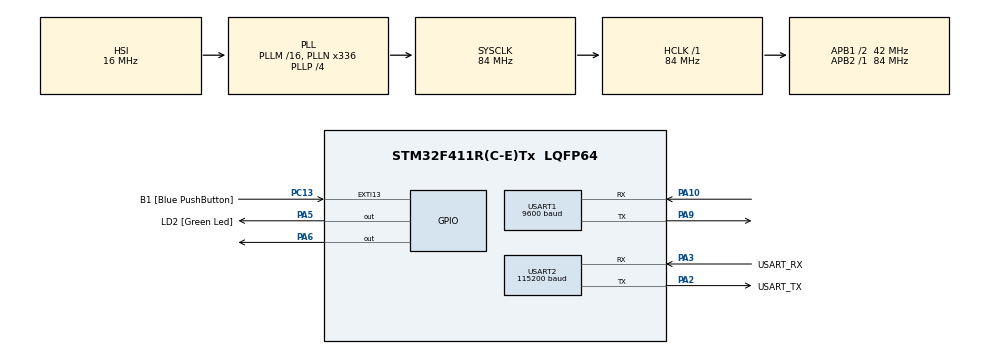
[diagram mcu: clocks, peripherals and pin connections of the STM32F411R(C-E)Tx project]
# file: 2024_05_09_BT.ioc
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Mcu.Family=STM32F4
Mcu.Name=STM32F411R(C-E)Tx
Mcu.Package=LQFP64
NVIC.PriorityGroup=NVIC_PRIORITYGROUP_0
NVIC.USART1_IRQn=true\:0\:0\:false\:false\:true\:true\:true\:true
PA10.GPIO_PuPd=GPIO_PULLUP
PA10.Mode=Asynchronous
PA10.Signal=USART1_RX
PA13.GPIO_Label=TMS
PA13.Mode=Serial_Wire
PA13.Signal=SYS_JTMS-SWDIO
PA14.GPIO_Label=TCK
PA14.Mode=Serial_Wire
PA14.Signal=SYS_JTCK-SWCLK
PA2.GPIO_Label=USART_TX
PA2.Mode=Asynchronous
PA2.Signal=USART2_TX
PA3.GPIO_Label=USART_RX
PA3.Mode=Asynchronous
PA3.Signal=USART2_RX
PA5.GPIO_Label=LD2 [Green Led]
PA5.Signal=GPIO_Output
PA6.Signal=GPIO_Output
PA9.Mode=Asynchronous
PA9.Signal=USART1_TX
PB3.GPIO_Label=SWO
PB3.Signal=SYS_JTDO-SWO
PC13-ANTI_TAMP.GPIO_Label=B1 [Blue PushButton]
PC13-ANTI_TAMP.GPIO_ModeDefaultEXTI=GPIO_MODE_IT_FALLING
PC13-ANTI_TAMP.Signal=GPXTI13
PC14-OSC32_IN.Mode=LSE-External-Oscillator
PC14-OSC32_IN.Signal=RCC_OSC32_IN
PC15-OSC32_OUT.Mode=LSE-External-Oscillator
PC15-OSC32_OUT.Signal=RCC_OSC32_OUT
PH0\ -\ OSC_IN.Mode=HSE-External-Clock-Source
PH0\ -\ OSC_IN.Signal=RCC_OSC_IN
PH1\ -\ OSC_OUT.Mode=HSE-External-Clock-Source
PH1\ -\ OSC_OUT.Signal=RCC_OSC_OUT
ProjectManager.HeapSize=0x200
ProjectManager.StackSize=0x400
ProjectManager.TargetToolchain=STM32CubeIDE
RCC.48MHZClocksFreq_Value=84000000
RCC.AHBFreq_Value=84000000
RCC.APB1CLKDivider=RCC_HCLK_DIV2
RCC.APB1Freq_Value=42000000
RCC.APB1TimFreq_Value=84000000
RCC.APB2Freq_Value=84000000
RCC.APB2TimFreq_Value=84000000
RCC.CortexFreq_Value=84000000
RCC.FLatency-AdvancedSettings=FLASH_LATENCY_2
RCC.HCLKFreq_Value=84000000
RCC.HSE_VALUE=25000000
RCC.HSI_VALUE=16000000
RCC.PLLN=336
RCC.PLLP=RCC_PLLP_DIV4
RCC.SYSCLKFreq_VALUE=84000000
RCC.SYSCLKSource=RCC_SYSCLKSOURCE_PLLCLK
RCC.VCOOutputFreq_Value=336000000
USART1.BaudRate=9600
USART1.VirtualMode=VM_ASYNC
USART2.BaudRate=115200
USART2.VirtualMode=VM_ASYNC
board=NUCLEO-F411RE

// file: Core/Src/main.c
/* USER CODE BEGIN Header */
/**
  ******************************************************************************
  * @file           : main.c
  * @brief          : Main program body
  ******************************************************************************
  * @attention
  *
  * Copyright (c) 2024 STMicroelectronics.
  * All rights reserved.
  *
  * This software is licensed under terms that can be found in the LICENSE file
  * in the root directory of this software component.
  * If no LICENSE file comes with this software, it is provided AS-IS.
  *
  ******************************************************************************
  */
/* USER CODE END Header */
#include "main.h"

/* USER CODE BEGIN Includes */
#include <stdio.h>
#include <string.h>
#include "C:\Harman\ARM Architecture\Common\myLib.h"
/* USER CODE END Includes */

UART_HandleTypeDef huart1;
UART_HandleTypeDef huart2;

void SystemClock_Config(void);
static void MX_GPIO_Init(void);
static void MX_USART2_UART_Init(void);
static void MX_USART1_UART_Init(void);

/* USER CODE BEGIN 0 */
char *demo_string = "Hello, EmbeddedThere\r\n"; //demo string
uint8_t recv_char;
uint8_t recv_str[20];
int i=0;
char *on="on";
char *off="off";
uint8_t ft=76;
/* USER CODE END 0 */

int main(void)
{

  /* MCU Configuration--------------------------------------------------------*/

  /* Reset of all peripherals, Initializes the Flash interface and the Systick. */
  HAL_Init();

  /* Configure the system clock */
  SystemClock_Config();

  /* Initialize all configured peripherals */
  MX_GPIO_Init();
  MX_USART2_UART_Init();
  MX_USART1_UART_Init();
  /* USER CODE BEGIN 2 */
  HAL_UART_Transmit(&huart2, (uint8_t*)demo_string, strlen(demo_string), HAL_MAX_DELAY);  // print to any computer serial monitor (use Putty or any serial monitor software for PC)
  HAL_UART_Receive_IT(&huart1, &recv_char, 1);  //UART1 interrupt call
  /* USER CODE END 2 */

  /* Infinite loop */
  while (1)
  {

  }
}

void SystemClock_Config(void)
{
  RCC_OscInitTypeDef RCC_OscInitStruct = {0};
  RCC_ClkInitTypeDef RCC_ClkInitStruct = {0};

  /** Configure the main internal regulator output voltage
  */
  __HAL_RCC_PWR_CLK_ENABLE();
  __HAL_PWR_VOLTAGESCALING_CONFIG(PWR_REGULATOR_VOLTAGE_SCALE1);

  /** Initializes the RCC Oscillators according to the specified parameters
  * in the RCC_OscInitTypeDef structure.
  */
  RCC_OscInitStruct.OscillatorType = RCC_OSCILLATORTYPE_HSI;
  RCC_OscInitStruct.HSIState = RCC_HSI_ON;
  RCC_OscInitStruct.HSICalibrationValue = RCC_HSICALIBRATION_DEFAULT;
  RCC_OscInitStruct.PLL.PLLState = RCC_PLL_ON;
  RCC_OscInitStruct.PLL.PLLSource = RCC_PLLSOURCE_HSI;
  RCC_OscInitStruct.PLL.PLLM = 16;
  RCC_OscInitStruct.PLL.PLLN = 336;
  RCC_OscInitStruct.PLL.PLLP = RCC_PLLP_DIV4;
  RCC_OscInitStruct.PLL.PLLQ = 4;
  if (HAL_RCC_OscConfig(&RCC_OscInitStruct) != HAL_OK)
  {
    Error_Handler();
  }

  /** Initializes the CPU, AHB and APB buses clocks
  */
  RCC_ClkInitStruct.ClockType = RCC_CLOCKTYPE_HCLK|RCC_CLOCKTYPE_SYSCLK
                              |RCC_CLOCKTYPE_PCLK1|RCC_CLOCKTYPE_PCLK2;
  RCC_ClkInitStruct.SYSCLKSource = RCC_SYSCLKSOURCE_PLLCLK;
  RCC_ClkInitStruct.AHBCLKDivider = RCC_SYSCLK_DIV1;
  RCC_ClkInitStruct.APB1CLKDivider = RCC_HCLK_DIV2;
  RCC_ClkInitStruct.APB2CLKDivider = RCC_HCLK_DIV1;

  if (HAL_RCC_ClockConfig(&RCC_ClkInitStruct, FLASH_LATENCY_2) != HAL_OK)
  {
    Error_Handler();
  }
}

static void MX_USART1_UART_Init(void)
{

  huart1.Instance = USART1;
  huart1.Init.BaudRate = 9600;
  huart1.Init.WordLength = UART_WORDLENGTH_8B;
  huart1.Init.StopBits = UART_STOPBITS_1;
  huart1.Init.Parity = UART_PARITY_NONE;
  huart1.Init.Mode = UART_MODE_TX_RX;
  huart1.Init.HwFlowCtl = UART_HWCONTROL_NONE;
  huart1.Init.OverSampling = UART_OVERSAMPLING_16;
  if (HAL_UART_Init(&huart1) != HAL_OK)
  {
    Error_Handler();
  }

}

static void MX_USART2_UART_Init(void)
{

  huart2.Instance = USART2;
  huart2.Init.BaudRate = 115200;
  huart2.Init.WordLength = UART_WORDLENGTH_8B;
  huart2.Init.StopBits = UART_STOPBITS_1;
  huart2.Init.Parity = UART_PARITY_NONE;
  huart2.Init.Mode = UART_MODE_TX_RX;
  huart2.Init.HwFlowCtl = UART_HWCONTROL_NONE;
  huart2.Init.OverSampling = UART_OVERSAMPLING_16;
  if (HAL_UART_Init(&huart2) != HAL_OK)
  {
    Error_Handler();
  }

}

static void MX_GPIO_Init(void)
{
  GPIO_InitTypeDef GPIO_InitStruct = {0};

  /* GPIO Ports Clock Enable */
  __HAL_RCC_GPIOC_CLK_ENABLE();
  __HAL_RCC_GPIOH_CLK_ENABLE();
  __HAL_RCC_GPIOA_CLK_ENABLE();
  __HAL_RCC_GPIOB_CLK_ENABLE();

  /*Configure GPIO pin Output Level */
  HAL_GPIO_WritePin(GPIOA, LD2_Pin|GPIO_PIN_6, GPIO_PIN_RESET);

  /*Configure GPIO pin : B1_Pin */
  GPIO_InitStruct.Pin = B1_Pin;
  GPIO_InitStruct.Mode = GPIO_MODE_IT_FALLING;
  GPIO_InitStruct.Pull = GPIO_NOPULL;
  HAL_GPIO_Init(B1_GPIO_Port, &GPIO_InitStruct);

  /*Configure GPIO pins : LD2_Pin PA6 */
  GPIO_InitStruct.Pin = LD2_Pin|GPIO_PIN_6;
  GPIO_InitStruct.Mode = GPIO_MODE_OUTPUT_PP;
  GPIO_InitStruct.Pull = GPIO_NOPULL;
  GPIO_InitStruct.Speed = GPIO_SPEED_FREQ_LOW;
  HAL_GPIO_Init(GPIOA, &GPIO_InitStruct);

}

/* USER CODE BEGIN 4 */
void HAL_UART_RxCpltCallback(UART_HandleTypeDef *huart){
    if(huart->Instance == USART1 ){
        if(recv_char == '\r'){

	    HAL_UART_Transmit(&huart2, recv_str, i, HAL_MAX_DELAY);

	        if(!strcmp(recv_str, on)){
		    HAL_GPIO_WritePin(GPIOA, GPIO_PIN_6, SET);
		}
		if(!strcmp(recv_str, off)){
		    HAL_GPIO_WritePin(GPIOA, GPIO_PIN_6, RESET);
	        }

		memset(recv_str, 0, i);
		i=0;
		}else{
		    if(recv_char == '\r' || recv_char == '\n'){
		} else{
		    recv_str[i++] = recv_char;
		}
	 }
	 HAL_UART_Receive_IT(&huart1, &recv_char, 1); //UART1 Interrupt call

    }
}
/* USER CODE END 4 */

void Error_Handler(void)
{
  __disable_irq();
  while (1)
  {
  }
}
